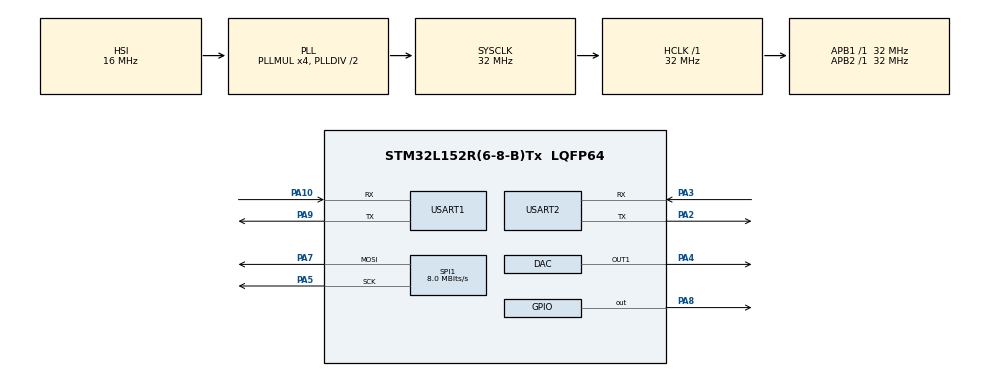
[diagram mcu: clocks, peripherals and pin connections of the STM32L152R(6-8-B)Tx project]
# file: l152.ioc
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ADC.Channel-0\#ChannelRegularConversion=ADC_CHANNEL_TEMPSENSOR
ADC.ClockPrescaler=ADC_CLOCK_ASYNC_DIV4
ADC.NbrOfConversionFlag=1
ADC.Rank-0\#ChannelRegularConversion=1
ADC.SamplingTime-0\#ChannelRegularConversion=ADC_SAMPLETIME_4CYCLES
Dma.Request0=USART1_RX
Dma.Request1=USART1_TX
Dma.USART1_RX.0.Direction=DMA_PERIPH_TO_MEMORY
Dma.USART1_RX.0.Instance=DMA1_Channel5
Dma.USART1_RX.0.MemDataAlignment=DMA_MDATAALIGN_BYTE
Dma.USART1_RX.0.MemInc=DMA_MINC_ENABLE
Dma.USART1_RX.0.Mode=DMA_NORMAL
Dma.USART1_RX.0.PeriphDataAlignment=DMA_PDATAALIGN_BYTE
Dma.USART1_RX.0.PeriphInc=DMA_PINC_DISABLE
Dma.USART1_RX.0.Priority=DMA_PRIORITY_MEDIUM
Dma.USART1_TX.1.Direction=DMA_MEMORY_TO_PERIPH
Dma.USART1_TX.1.Instance=DMA1_Channel4
Dma.USART1_TX.1.MemDataAlignment=DMA_MDATAALIGN_BYTE
Dma.USART1_TX.1.MemInc=DMA_MINC_ENABLE
Dma.USART1_TX.1.Mode=DMA_NORMAL
Dma.USART1_TX.1.PeriphDataAlignment=DMA_PDATAALIGN_BYTE
Dma.USART1_TX.1.PeriphInc=DMA_PINC_DISABLE
Dma.USART1_TX.1.Priority=DMA_PRIORITY_LOW
FREERTOS.BinarySemaphores01=sem_gpio_init
FREERTOS.Queues01=queue_ezat_cmd,16,32,NULL
FREERTOS.Tasks01=defaultTask,0,128,StartDefaultTask;myTask02,-3,256,StartTask02;task_pll,0,256,task_pll_func;task_ezat,2,512,task_ezat_func;task_ez_rx,0,256,task_ez_rx_func
FREERTOS.configTOTAL_HEAP_SIZE=10240
Mcu.Family=STM32L1
Mcu.Name=STM32L152R(6-8-B)Tx
Mcu.Package=LQFP64
Mcu.UserConstants=TUNE1,2000;TUNE2,1000;TUNE3,500
NVIC.DMA1_Channel4_IRQn=true\:5\:0\:false
NVIC.DMA1_Channel5_IRQn=true\:5\:0\:false
NVIC.PriorityGroup=NVIC_PRIORITYGROUP_4
NVIC.TIM6_IRQn=true\:5\:0\:true
NVIC.USART1_IRQn=true\:5\:0\:false
PA10.Mode=Asynchronous
PA10.Signal=USART1_RX
PA2.Mode=Asynchronous
PA2.Signal=USART2_TX
PA3.Mode=Asynchronous
PA3.Signal=USART2_RX
PA4.Signal=COMP_DAC1_group
PA5.Mode=TX_Only_Simplex_Unidirect_Master
PA5.Signal=SPI1_SCK
PA7.Mode=TX_Only_Simplex_Unidirect_Master
PA7.Signal=SPI1_MOSI
PA8.Signal=GPIO_Output
PA9.Mode=Asynchronous
PA9.Signal=USART1_TX
ProjectManager.TargetToolchain=EWARM
RCC.AHBFreq_Value=32000000
RCC.APB1Freq_Value=32000000
RCC.APB1TimFreq_Value=32000000
RCC.APB2Freq_Value=32000000
RCC.APB2TimFreq_Value=32000000
RCC.HCLKFreq_Value=32000000
RCC.HSE_VALUE=24000000
RCC.HSI_VALUE=16000000
RCC.LSE_VALUE=32768
RCC.MSI_VALUE=2097000
RCC.PLLMUL=RCC_PLL_MUL4
RCC.SYSCLKFreq_VALUE=32000000
RCC.SYSCLKSource=RCC_SYSCLKSOURCE_PLLCLK
RCC.USBOutput=32000000
RCC.VCOOutputFreq_Value=64000000
SH.COMP_DAC1_group.0=DAC_OUT1,DAC_OUT1
SPI1.BaudRatePrescaler=SPI_BAUDRATEPRESCALER_4
SPI1.CalculateBaudRate=8.0 MBits/s
SPI1.Mode=SPI_MODE_MASTER
TIM6.Period=150
TIM6.Prescaler=32
VP_ADC_TempSens_Input.Mode=IN-TempSens
VP_ADC_Vref_Input.Mode=IN-Vrefint
VP_FREERTOS_VS_ENABLE.Mode=Enabled
VP_TIM6_VS_ClockSourceINT.Mode=Enable_Timer
board=l152

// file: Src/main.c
/**
 * About vvlogic X1 firmware.
 * This embedded project and main framework was create by ST
 * STM32CUBE and build by IAR ARM 7.3.
 * STM32CUBEMX version 4.1.1
 * STM32CUBEL1 version 1.4.0
 *
 * This project is licensed under the
 * terms of the MIT license.
 *
 * coffeerr2004001@gmail.com, 2016.05.02
 * ver 3 (Initialversion)
 */

/**
  ******************************************************************************
  * File Name          : main.c
  * Description        : Main program body
  ******************************************************************************
  *
  * COPYRIGHT(c) 2016 STMicroelectronics
  *
  * Redistribution and use in source and binary forms, with or without modification,
  * are permitted provided that the following conditions are met:
  *   1. Redistributions of source code must retain the above copyright notice,
  *      this list of conditions and the following disclaimer.
  *   2. Redistributions in binary form must reproduce the above copyright notice,
  *      this list of conditions and the following disclaimer in the documentation
  *      and/or other materials provided with the distribution.
  *   3. Neither the name of STMicroelectronics nor the names of its contributors
  *      may be used to endorse or promote products derived from this software
  *      without specific prior written permission.
  *
  * THIS SOFTWARE IS PROVIDED BY THE COPYRIGHT HOLDERS AND CONTRIBUTORS "AS IS"
  * AND ANY EXPRESS OR IMPLIED WARRANTIES, INCLUDING, BUT NOT LIMITED TO, THE
  * IMPLIED WARRANTIES OF MERCHANTABILITY AND FITNESS FOR A PARTICULAR PURPOSE ARE
  * DISCLAIMED. IN NO EVENT SHALL THE COPYRIGHT HOLDER OR CONTRIBUTORS BE LIABLE
  * FOR ANY DIRECT, INDIRECT, INCIDENTAL, SPECIAL, EXEMPLARY, OR CONSEQUENTIAL
  * DAMAGES (INCLUDING, BUT NOT LIMITED TO, PROCUREMENT OF SUBSTITUTE GOODS OR
  * SERVICES; LOSS OF USE, DATA, OR PROFITS; OR BUSINESS INTERRUPTION) HOWEVER
  * CAUSED AND ON ANY THEORY OF LIABILITY, WHETHER IN CONTRACT, STRICT LIABILITY,
  * OR TORT (INCLUDING NEGLIGENCE OR OTHERWISE) ARISING IN ANY WAY OUT OF THE USE
  * OF THIS SOFTWARE, EVEN IF ADVISED OF THE POSSIBILITY OF SUCH DAMAGE.
  *
  ******************************************************************************
  */
#include "stm32l1xx_hal.h"
#include "cmsis_os.h"

/* USER CODE BEGIN Includes */
#include "includes.h"
/* USER CODE END Includes */

ADC_HandleTypeDef hadc;

DAC_HandleTypeDef hdac;

SPI_HandleTypeDef hspi1;

TIM_HandleTypeDef htim6;

UART_HandleTypeDef huart1;
UART_HandleTypeDef huart2;
DMA_HandleTypeDef hdma_usart1_rx;
DMA_HandleTypeDef hdma_usart1_tx;

osThreadId defaultTaskHandle;
osThreadId myTask02Handle;
osThreadId task_pllHandle;
osThreadId task_ezatHandle;
osThreadId task_ez_rxHandle;
osMessageQId queue_ezat_cmdHandle;
osSemaphoreId sem_gpio_initHandle;

void SystemClock_Config(void);
static void MX_GPIO_Init(void);
static void MX_DMA_Init(void);
static void MX_ADC_Init(void);
static void MX_DAC_Init(void);
static void MX_SPI1_Init(void);
static void MX_TIM6_Init(void);
static void MX_USART1_UART_Init(void);
static void MX_USART2_UART_Init(void);
void StartDefaultTask(void const * argument);
void StartTask02(void const * argument);
void task_pll_func(void const * argument);
void task_ezat_func(void const * argument);
void task_ez_rx_func(void const * argument);

/* USER CODE BEGIN 0 */
//vSemaphoreCreateBinary(sem_gpio_init_b);
/* USER CODE END 0 */

int main(void)
{

  /* MCU Configuration----------------------------------------------------------*/

  /* Reset of all peripherals, Initializes the Flash interface and the Systick. */
  HAL_Init();

  /* Configure the system clock */
  SystemClock_Config();

  /* Initialize all configured peripherals */
  MX_GPIO_Init();
  MX_DMA_Init();
  MX_ADC_Init();
  MX_DAC_Init();
  MX_SPI1_Init();
  MX_TIM6_Init();
  MX_USART1_UART_Init();
  MX_USART2_UART_Init();

  /* USER CODE BEGIN 2 */
	vv_dbg_enable_all_gpio_clk();
  /* USER CODE END 2 */

  /* Create the semaphores(s) */
  /* definition and creation of sem_gpio_init */
  osSemaphoreDef(sem_gpio_init);
  sem_gpio_initHandle = osSemaphoreCreate(osSemaphore(sem_gpio_init), 1);

  /* USER CODE BEGIN RTOS_SEMAPHORES */
	/* add semaphores, ... */
	osMutexWait(sem_gpio_initHandle, osWaitForever);
  /* USER CODE END RTOS_SEMAPHORES */

  /* Create the thread(s) */
  /* definition and creation of defaultTask */
  osThreadDef(defaultTask, StartDefaultTask, osPriorityNormal, 0, 128);
  defaultTaskHandle = osThreadCreate(osThread(defaultTask), NULL);

  /* definition and creation of myTask02 */
  osThreadDef(myTask02, StartTask02, osPriorityIdle, 0, 256);
  myTask02Handle = osThreadCreate(osThread(myTask02), NULL);

  /* definition and creation of task_pll */
  osThreadDef(task_pll, task_pll_func, osPriorityNormal, 0, 256);
  task_pllHandle = osThreadCreate(osThread(task_pll), NULL);

  /* definition and creation of task_ezat */
  osThreadDef(task_ezat, task_ezat_func, osPriorityHigh, 0, 512);
  task_ezatHandle = osThreadCreate(osThread(task_ezat), NULL);

  /* definition and creation of task_ez_rx */
  osThreadDef(task_ez_rx, task_ez_rx_func, osPriorityNormal, 0, 256);
  task_ez_rxHandle = osThreadCreate(osThread(task_ez_rx), NULL);

  /* Create the queue(s) */
  /* definition and creation of queue_ezat_cmd */
  osMessageQDef(queue_ezat_cmd, 16, 32);
  queue_ezat_cmdHandle = osMessageCreate(osMessageQ(queue_ezat_cmd), NULL);

  /* Start scheduler */
  osKernelStart();

  /* We should never get here as control is now taken by the scheduler */

  /* Infinite loop */
	while (1)
	{

	}

}

/** System Clock Configuration
*/
void SystemClock_Config(void)
{

  RCC_OscInitTypeDef RCC_OscInitStruct;
  RCC_ClkInitTypeDef RCC_ClkInitStruct;

  __PWR_CLK_ENABLE();

  __HAL_PWR_VOLTAGESCALING_CONFIG(PWR_REGULATOR_VOLTAGE_SCALE1);

  RCC_OscInitStruct.OscillatorType = RCC_OSCILLATORTYPE_HSI;
  RCC_OscInitStruct.HSIState = RCC_HSI_ON;
  RCC_OscInitStruct.HSICalibrationValue = 16;
  RCC_OscInitStruct.PLL.PLLState = RCC_PLL_ON;
  RCC_OscInitStruct.PLL.PLLSource = RCC_PLLSOURCE_HSI;
  RCC_OscInitStruct.PLL.PLLMUL = RCC_PLL_MUL4;
  RCC_OscInitStruct.PLL.PLLDIV = RCC_PLL_DIV2;
  HAL_RCC_OscConfig(&RCC_OscInitStruct);

  RCC_ClkInitStruct.ClockType = RCC_CLOCKTYPE_SYSCLK;
  RCC_ClkInitStruct.SYSCLKSource = RCC_SYSCLKSOURCE_PLLCLK;
  RCC_ClkInitStruct.AHBCLKDivider = RCC_SYSCLK_DIV1;
  RCC_ClkInitStruct.APB1CLKDivider = RCC_HCLK_DIV1;
  RCC_ClkInitStruct.APB2CLKDivider = RCC_HCLK_DIV1;
  HAL_RCC_ClockConfig(&RCC_ClkInitStruct, FLASH_LATENCY_1);

  HAL_SYSTICK_Config(HAL_RCC_GetHCLKFreq()/1000);

  HAL_SYSTICK_CLKSourceConfig(SYSTICK_CLKSOURCE_HCLK);

  /* SysTick_IRQn interrupt configuration */
  HAL_NVIC_SetPriority(SysTick_IRQn, 0, 0);
}

/* ADC init function */
void MX_ADC_Init(void)
{

  ADC_ChannelConfTypeDef sConfig;

    /**Configure the global features of the ADC (Clock, Resolution, Data Alignment and number of conversion)
    */
  hadc.Instance = ADC1;
  hadc.Init.ClockPrescaler = ADC_CLOCK_ASYNC_DIV4;
  hadc.Init.Resolution = ADC_RESOLUTION12b;
  hadc.Init.DataAlign = ADC_DATAALIGN_RIGHT;
  hadc.Init.ScanConvMode = ADC_SCAN_DISABLE;
  hadc.Init.EOCSelection = EOC_SEQ_CONV;
  hadc.Init.LowPowerAutoWait = ADC_AUTOWAIT_DISABLE;
  hadc.Init.LowPowerAutoPowerOff = ADC_AUTOPOWEROFF_DISABLE;
  hadc.Init.ChannelsBank = ADC_CHANNELS_BANK_A;
  hadc.Init.ContinuousConvMode = DISABLE;
  hadc.Init.NbrOfConversion = 1;
  hadc.Init.DiscontinuousConvMode = DISABLE;
  hadc.Init.ExternalTrigConv = ADC_SOFTWARE_START;
  hadc.Init.ExternalTrigConvEdge = ADC_EXTERNALTRIGCONVEDGE_NONE;
  hadc.Init.DMAContinuousRequests = DISABLE;
  HAL_ADC_Init(&hadc);

    /**Configure for the selected ADC regular channel its corresponding rank in the sequencer and its sample time.
    */
  sConfig.Channel = ADC_CHANNEL_TEMPSENSOR;
  sConfig.Rank = 1;
  sConfig.SamplingTime = ADC_SAMPLETIME_4CYCLES;
  HAL_ADC_ConfigChannel(&hadc, &sConfig);

}

/* DAC init function */
void MX_DAC_Init(void)
{

  DAC_ChannelConfTypeDef sConfig;

    /**DAC Initialization
    */
  hdac.Instance = DAC;
  HAL_DAC_Init(&hdac);

    /**DAC channel OUT1 config
    */
  sConfig.DAC_Trigger = DAC_TRIGGER_NONE;
  sConfig.DAC_OutputBuffer = DAC_OUTPUTBUFFER_ENABLE;
  HAL_DAC_ConfigChannel(&hdac, &sConfig, DAC_CHANNEL_1);

}

/* SPI1 init function */
void MX_SPI1_Init(void)
{

  hspi1.Instance = SPI1;
  hspi1.Init.Mode = SPI_MODE_MASTER;
  hspi1.Init.Direction = SPI_DIRECTION_2LINES;
  hspi1.Init.DataSize = SPI_DATASIZE_8BIT;
  hspi1.Init.CLKPolarity = SPI_POLARITY_LOW;
  hspi1.Init.CLKPhase = SPI_PHASE_1EDGE;
  hspi1.Init.NSS = SPI_NSS_SOFT;
  hspi1.Init.BaudRatePrescaler = SPI_BAUDRATEPRESCALER_4;
  hspi1.Init.FirstBit = SPI_FIRSTBIT_MSB;
  hspi1.Init.TIMode = SPI_TIMODE_DISABLED;
  hspi1.Init.CRCCalculation = SPI_CRCCALCULATION_DISABLED;
  hspi1.Init.CRCPolynomial = 10;
  HAL_SPI_Init(&hspi1);

}

/* TIM6 init function */
void MX_TIM6_Init(void)
{

  TIM_MasterConfigTypeDef sMasterConfig;

  htim6.Instance = TIM6;
  htim6.Init.Prescaler = 32;
  htim6.Init.CounterMode = TIM_COUNTERMODE_UP;

  htim6.Init.Period = 150; //150
  HAL_TIM_Base_Init(&htim6);

  sMasterConfig.MasterOutputTrigger = TIM_TRGO_RESET;
  sMasterConfig.MasterSlaveMode = TIM_MASTERSLAVEMODE_DISABLE;
  HAL_TIMEx_MasterConfigSynchronization(&htim6, &sMasterConfig);

}

/* USART1 init function */
void MX_USART1_UART_Init(void)
{

  huart1.Instance = USART1;
  huart1.Init.BaudRate = 115200;
  huart1.Init.WordLength = UART_WORDLENGTH_8B;
  huart1.Init.StopBits = UART_STOPBITS_1;
  huart1.Init.Parity = UART_PARITY_NONE;
  huart1.Init.Mode = UART_MODE_TX_RX;
  huart1.Init.HwFlowCtl = UART_HWCONTROL_NONE;
  huart1.Init.OverSampling = UART_OVERSAMPLING_16;
  HAL_UART_Init(&huart1);

}

/* USART2 init function */
void MX_USART2_UART_Init(void)
{

  huart2.Instance = USART2;
  huart2.Init.BaudRate = 115200;
  huart2.Init.WordLength = UART_WORDLENGTH_8B;
  huart2.Init.StopBits = UART_STOPBITS_1;
  huart2.Init.Parity = UART_PARITY_NONE;
  huart2.Init.Mode = UART_MODE_TX_RX;
  huart2.Init.HwFlowCtl = UART_HWCONTROL_NONE;
  huart2.Init.OverSampling = UART_OVERSAMPLING_16;
  HAL_UART_Init(&huart2);

}

void MX_DMA_Init(void)
{
  /* DMA controller clock enable */
  __DMA1_CLK_ENABLE();

  /* DMA interrupt init */
  HAL_NVIC_SetPriority(DMA1_Channel4_IRQn, 5, 0);
  HAL_NVIC_EnableIRQ(DMA1_Channel4_IRQn);
  HAL_NVIC_SetPriority(DMA1_Channel5_IRQn, 5, 0);
  HAL_NVIC_EnableIRQ(DMA1_Channel5_IRQn);

}

/** Configure pins as
        * Analog
        * Input
        * Output
        * EVENT_OUT
        * EXTI
*/
void MX_GPIO_Init(void)
{

  GPIO_InitTypeDef GPIO_InitStruct;

  /* GPIO Ports Clock Enable */
  __GPIOA_CLK_ENABLE();

  /*Configure GPIO pin : PA8 */
  GPIO_InitStruct.Pin = GPIO_PIN_8;
  GPIO_InitStruct.Mode = GPIO_MODE_OUTPUT_PP;
  GPIO_InitStruct.Pull = GPIO_NOPULL;
  GPIO_InitStruct.Speed = GPIO_SPEED_VERY_LOW;
  HAL_GPIO_Init(GPIOA, &GPIO_InitStruct);

}

/* StartDefaultTask function */
void StartDefaultTask(void const * argument)
{

  /* USER CODE BEGIN 5 */
	//vv_calib_demo();
	//config_demo();

	/* Infinite loop */
	for (;;)
	{
		osDelay(5000);
		//
	}

  /* USER CODE END 5 */
}

/* StartTask02 function */
void StartTask02(void const * argument)
{
  /* USER CODE BEGIN StartTask02 */

	vv_pwr_init_pwr_ctrl();
	osMutexRelease(sem_gpio_initHandle);

	vv_dbg_led_init_gpio();

	__HAL_RCC_TIM6_CLK_ENABLE();
	HAL_TIM_Base_Start_IT(&htim6);

	vv_beep(STATUS_OK);

	HAL_DAC_Start(&hdac, DAC_CHANNEL_1);
	//0-4095
	//HAL_DAC_SetValue(&hdac, DAC_CHANNEL_1, DAC_ALIGN_12B_R, 0);
	HAL_DAC_SetValue(&hdac, DAC_CHANNEL_1, DAC_ALIGN_12B_R, 2022);
	//HAL_DAC_SetValue(&hdac, DAC_CHANNEL_1, DAC_ALIGN_12B_R, 4095);

	/* Infinite loop */
	for (;;)
	{
		osDelay(700);
		vv_dbg_led_sw(1);
		osDelay(100);
		vv_dbg_led_sw(0);
		osDelay(100);
		vv_dbg_led_sw(1);
		osDelay(100);
		vv_dbg_led_sw(0);

		//printf("task02.\r\n");
	}
  /* USER CODE END StartTask02 */
}

/* task_pll_func function */
void task_pll_func(void const * argument)
{
  /* USER CODE BEGIN task_pll_func */
	/* Infinite loop */
	vv_task_freq_top(argument);
  /* USER CODE END task_pll_func */
}

/* task_ezat_func function */
void task_ezat_func(void const * argument)
{
  /* USER CODE BEGIN task_ezat_func */
	/* Infinite loop */
	vv_task_ezat_top(argument);

  /* USER CODE END task_ezat_func */
}

/* task_ez_rx_func function */
void task_ez_rx_func(void const * argument)
{
  /* USER CODE BEGIN task_ez_rx_func */

	task_ez_rx_func_top(argument);
  /* USER CODE END task_ez_rx_func */
}

/************************ (C) COPYRIGHT STMicroelectronics *****END OF FILE****/
